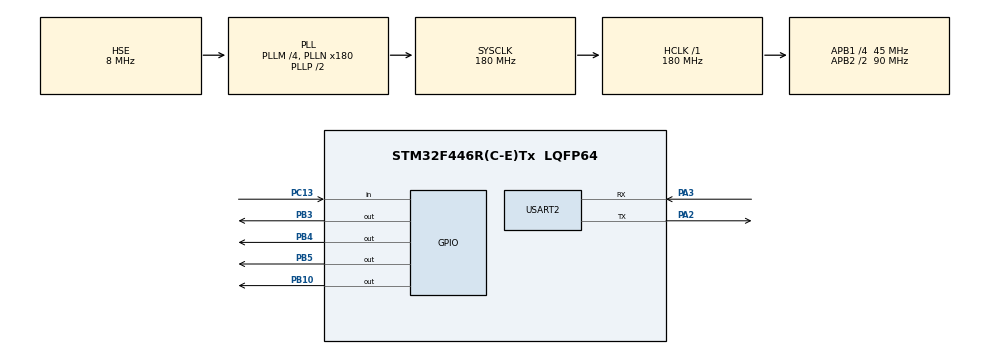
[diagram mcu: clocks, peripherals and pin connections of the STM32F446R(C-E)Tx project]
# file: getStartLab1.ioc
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FREERTOS.Tasks01=Task1,24,128,StartTask1,Default,NULL,Dynamic,NULL,NULL;Task2,24,128,StartTask2,Default,NULL,Dynamic,NULL,NULL;Task3,24,128,StartTask3,Default,NULL,Dynamic,NULL,NULL;Task4,24,128,StartTask4,Default,NULL,Dynamic,NULL,NULL;Task5,24,128,StartTask5,Default,NULL,Dynamic,NULL,NULL
FREERTOS.configUSE_NEWLIB_REENTRANT=1
Mcu.Family=STM32F4
Mcu.Name=STM32F446R(C-E)Tx
Mcu.Package=LQFP64
NVIC.PriorityGroup=NVIC_PRIORITYGROUP_4
NVIC.TIM6_DAC_IRQn=true\:15\:0\:false\:false\:true\:false\:false\:true\:true
NVIC.TimeBase=TIM6_DAC_IRQn
NVIC.TimeBaseIP=TIM6
PA13.Mode=Serial_Wire
PA13.Signal=SYS_JTMS-SWDIO
PA14.Mode=Serial_Wire
PA14.Signal=SYS_JTCK-SWCLK
PA2.Mode=Asynchronous
PA2.Signal=USART2_TX
PA3.Mode=Asynchronous
PA3.Signal=USART2_RX
PB10.Signal=GPIO_Output
PB3.Signal=GPIO_Output
PB4.Signal=GPIO_Output
PB5.Signal=GPIO_Output
PC13.Signal=GPIO_Input
PH0-OSC_IN.Mode=HSE-External-Oscillator
PH0-OSC_IN.Signal=RCC_OSC_IN
PH1-OSC_OUT.Mode=HSE-External-Oscillator
PH1-OSC_OUT.Signal=RCC_OSC_OUT
ProjectManager.HeapSize=0x200
ProjectManager.StackSize=0x400
ProjectManager.TargetToolchain=STM32CubeIDE
RCC.48MHZClocksFreq_Value=84000000
RCC.AHBFreq_Value=180000000
RCC.APB1CLKDivider=RCC_HCLK_DIV4
RCC.APB1Freq_Value=45000000
RCC.APB1TimFreq_Value=90000000
RCC.APB2CLKDivider=RCC_HCLK_DIV2
RCC.APB2Freq_Value=90000000
RCC.APB2TimFreq_Value=180000000
RCC.CortexFreq_Value=180000000
RCC.FLatency-AdvancedSettings=FLASH_LATENCY_5
RCC.HCLKFreq_Value=180000000
RCC.HSE_VALUE=8000000
RCC.HSI_VALUE=16000000
RCC.PLLM=4
RCC.PLLN=180
RCC.PLLSourceVirtual=RCC_PLLSOURCE_HSE
RCC.SYSCLKFreq_VALUE=180000000
RCC.SYSCLKSource=RCC_SYSCLKSOURCE_PLLCLK
RCC.USBFreq_Value=180000000
RCC.VCOOutputFreq_Value=360000000
USART2.VirtualMode=VM_ASYNC
VP_FREERTOS_VS_CMSIS_V2.Mode=CMSIS_V2
VP_SYS_VS_tim6.Mode=TIM6
board=NUCLEO-F446RE

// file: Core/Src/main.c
/* USER CODE BEGIN Header */
/**
  ******************************************************************************
  * @file           : main.c
  * @brief          : Main program body
  ******************************************************************************
  * @attention
  *
  * Copyright (c) 2024 STMicroelectronics.
  * All rights reserved.
  *
  * This software is licensed under terms that can be found in the LICENSE file
  * in the root directory of this software component.
  * If no LICENSE file comes with this software, it is provided AS-IS.
  *
  ******************************************************************************
  */
/* USER CODE END Header */
#include "main.h"
#include "cmsis_os.h"

UART_HandleTypeDef huart2;

/* Definitions for Task1 */
osThreadId_t Task1Handle;
const osThreadAttr_t Task1_attributes = {
  .name = "Task1",
  .stack_size = 128 * 4,
  .priority = (osPriority_t) osPriorityNormal,
};
/* Definitions for Task2 */
osThreadId_t Task2Handle;
const osThreadAttr_t Task2_attributes = {
  .name = "Task2",
  .stack_size = 128 * 4,
  .priority = (osPriority_t) osPriorityNormal,
};
/* Definitions for Task3 */
osThreadId_t Task3Handle;
const osThreadAttr_t Task3_attributes = {
  .name = "Task3",
  .stack_size = 128 * 4,
  .priority = (osPriority_t) osPriorityNormal,
};
/* Definitions for Task4 */
osThreadId_t Task4Handle;
const osThreadAttr_t Task4_attributes = {
  .name = "Task4",
  .stack_size = 128 * 4,
  .priority = (osPriority_t) osPriorityNormal,
};
/* Definitions for Task5 */
osThreadId_t Task5Handle;
const osThreadAttr_t Task5_attributes = {
  .name = "Task5",
  .stack_size = 128 * 4,
  .priority = (osPriority_t) osPriorityNormal,
};

void SystemClock_Config(void);
static void MX_GPIO_Init(void);
static void MX_USART2_UART_Init(void);
void StartTask1(void *argument);
void StartTask2(void *argument);
void StartTask3(void *argument);
void StartTask4(void *argument);

/* USER CODE BEGIN 0 */
uint8_t dataTask1[] = "Task1: How are you?\r\n";
uint8_t dataTask2[] = "Task2: I am fine and you.\r\n";
uint8_t dataTask3[] = "Task3: It is nice you see here, Task3\r\n";

int flag = 0;

/* USER CODE END 0 */

int main(void)
{

  /* MCU Configuration--------------------------------------------------------*/

  /* Reset of all peripherals, Initializes the Flash interface and the Systick. */
  HAL_Init();

  /* Configure the system clock */
  SystemClock_Config();

  /* Initialize all configured peripherals */
  MX_GPIO_Init();
  MX_USART2_UART_Init();

  /* Init scheduler */
  osKernelInitialize();

  /* Create the thread(s) */
  /* creation of Task1 */
  Task1Handle = osThreadNew(StartTask1, NULL, &Task1_attributes);

  /* creation of Task2 */
  Task2Handle = osThreadNew(StartTask2, NULL, &Task2_attributes);

  /* creation of Task3 */
  Task3Handle = osThreadNew(StartTask3, NULL, &Task3_attributes);

  /* creation of Task4 */
  Task4Handle = osThreadNew(StartTask4, NULL, &Task4_attributes);

  /* Start scheduler */
  osKernelStart();

  /* We should never get here as control is now taken by the scheduler */
  /* Infinite loop */
  while (1)
  {

  }
}

void SystemClock_Config(void)
{
  RCC_OscInitTypeDef RCC_OscInitStruct = {0};
  RCC_ClkInitTypeDef RCC_ClkInitStruct = {0};

  /** Configure the main internal regulator output voltage
  */
  __HAL_RCC_PWR_CLK_ENABLE();
  __HAL_PWR_VOLTAGESCALING_CONFIG(PWR_REGULATOR_VOLTAGE_SCALE1);

  /** Initializes the RCC Oscillators according to the specified parameters
  * in the RCC_OscInitTypeDef structure.
  */
  RCC_OscInitStruct.OscillatorType = RCC_OSCILLATORTYPE_HSE;
  RCC_OscInitStruct.HSEState = RCC_HSE_ON;
  RCC_OscInitStruct.PLL.PLLState = RCC_PLL_ON;
  RCC_OscInitStruct.PLL.PLLSource = RCC_PLLSOURCE_HSE;
  RCC_OscInitStruct.PLL.PLLM = 4;
  RCC_OscInitStruct.PLL.PLLN = 180;
  RCC_OscInitStruct.PLL.PLLP = RCC_PLLP_DIV2;
  RCC_OscInitStruct.PLL.PLLQ = 2;
  RCC_OscInitStruct.PLL.PLLR = 2;
  if (HAL_RCC_OscConfig(&RCC_OscInitStruct) != HAL_OK)
  {
    Error_Handler();
  }

  /** Activate the Over-Drive mode
  */
  if (HAL_PWREx_EnableOverDrive() != HAL_OK)
  {
    Error_Handler();
  }

  /** Initializes the CPU, AHB and APB buses clocks
  */
  RCC_ClkInitStruct.ClockType = RCC_CLOCKTYPE_HCLK|RCC_CLOCKTYPE_SYSCLK
                              |RCC_CLOCKTYPE_PCLK1|RCC_CLOCKTYPE_PCLK2;
  RCC_ClkInitStruct.SYSCLKSource = RCC_SYSCLKSOURCE_PLLCLK;
  RCC_ClkInitStruct.AHBCLKDivider = RCC_SYSCLK_DIV1;
  RCC_ClkInitStruct.APB1CLKDivider = RCC_HCLK_DIV4;
  RCC_ClkInitStruct.APB2CLKDivider = RCC_HCLK_DIV2;

  if (HAL_RCC_ClockConfig(&RCC_ClkInitStruct, FLASH_LATENCY_5) != HAL_OK)
  {
    Error_Handler();
  }
}

static void MX_USART2_UART_Init(void)
{

  huart2.Instance = USART2;
  huart2.Init.BaudRate = 115200;
  huart2.Init.WordLength = UART_WORDLENGTH_8B;
  huart2.Init.StopBits = UART_STOPBITS_1;
  huart2.Init.Parity = UART_PARITY_NONE;
  huart2.Init.Mode = UART_MODE_TX_RX;
  huart2.Init.HwFlowCtl = UART_HWCONTROL_NONE;
  huart2.Init.OverSampling = UART_OVERSAMPLING_16;
  if (HAL_UART_Init(&huart2) != HAL_OK)
  {
    Error_Handler();
  }

}

static void MX_GPIO_Init(void)
{
  GPIO_InitTypeDef GPIO_InitStruct = {0};

  /* GPIO Ports Clock Enable */
  __HAL_RCC_GPIOC_CLK_ENABLE();
  __HAL_RCC_GPIOH_CLK_ENABLE();
  __HAL_RCC_GPIOA_CLK_ENABLE();
  __HAL_RCC_GPIOB_CLK_ENABLE();

  /*Configure GPIO pin Output Level */
  HAL_GPIO_WritePin(GPIOB, GPIO_PIN_10|GPIO_PIN_3|GPIO_PIN_4|GPIO_PIN_5, GPIO_PIN_RESET);

  /*Configure GPIO pin : PC13 */
  GPIO_InitStruct.Pin = GPIO_PIN_13;
  GPIO_InitStruct.Mode = GPIO_MODE_INPUT;
  GPIO_InitStruct.Pull = GPIO_NOPULL;
  HAL_GPIO_Init(GPIOC, &GPIO_InitStruct);

  /*Configure GPIO pins : PB10 PB3 PB4 PB5 */
  GPIO_InitStruct.Pin = GPIO_PIN_10|GPIO_PIN_3|GPIO_PIN_4|GPIO_PIN_5;
  GPIO_InitStruct.Mode = GPIO_MODE_OUTPUT_PP;
  GPIO_InitStruct.Pull = GPIO_NOPULL;
  GPIO_InitStruct.Speed = GPIO_SPEED_FREQ_LOW;
  HAL_GPIO_Init(GPIOB, &GPIO_InitStruct);

}

void StartTask1(void *argument)
{
  /* USER CODE BEGIN 5 */
  /* Infinite loop */
  for(;;)
  {

//	  HAL_UART_Transmit(&huart2, dataTask1, sizeof(dataTask1), 1000);
	 // HAL_GPIO_WritePin(GPIOB, GPIO_PIN_3|GPIO_PIN_4|GPIO_PIN_5, GPIO_PIN_RESET);
	  HAL_GPIO_TogglePin(GPIOB,GPIO_PIN_4);//red LED
	  osDelay(12000); //phase 1
	  HAL_GPIO_TogglePin(GPIOB,GPIO_PIN_4);
	  osDelay(13000);//phase 2
	  }
  /* USER CODE END 5 */
}

void StartTask2(void *argument)
{
  /* USER CODE BEGIN StartTask2 */
  /* Infinite loop */
  for(;;)
  {
//	  HAL_UART_Transmit(&huart2, dataTask2, sizeof(dataTask2), 1000);
	  osDelay(10000); //Phase 1
	  HAL_GPIO_TogglePin(GPIOB,GPIO_PIN_5);//Orange LED
	  osDelay(2000); //Phase 2
	  HAL_GPIO_TogglePin(GPIOB,GPIO_PIN_5);
	  osDelay(10000); //Phase 3
	  HAL_GPIO_TogglePin(GPIOB,GPIO_PIN_5);
	  osDelay(3000); // Phase 4
	  HAL_GPIO_TogglePin(GPIOB,GPIO_PIN_5);
  }
  /* USER CODE END StartTask2 */
}

void StartTask3(void *argument)
{
  /* USER CODE BEGIN StartTask3 */
  /* Infinite loop */
  for(;;)
  {
	  HAL_UART_Transmit(&huart2, dataTask3, sizeof(dataTask3), 1000);
	  osDelay(12000);//phase 1,2
	  HAL_GPIO_TogglePin(GPIOB, GPIO_PIN_3); //Green LED
	  osDelay(10000);//phase 3
	  HAL_GPIO_TogglePin(GPIOB,GPIO_PIN_3);
	  osDelay(3000);//phase 4
  }
  /* USER CODE END StartTask3 */
}

void StartTask4(void *argument)
{
  /* USER CODE BEGIN StartTask4 */
  /* Infinite loop */
  for(;;)
  {
	  osDelay(25000);
	  uint8_t dataTask4[] = "Task 4: Traffic Light phases all completed.\r\n";
	  HAL_UART_Transmit(&huart2, dataTask4, sizeof(dataTask4), 1000);
  }
  /* USER CODE END StartTask4 */
}

void HAL_TIM_PeriodElapsedCallback(TIM_HandleTypeDef *htim)
{
  if (htim->Instance == TIM6) {
    HAL_IncTick();
  }
}

void Error_Handler(void)
{
  __disable_irq();
  while (1)
  {
  }
}
